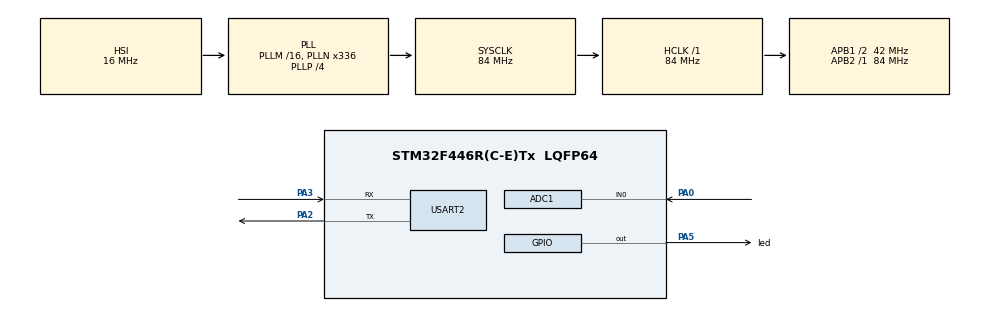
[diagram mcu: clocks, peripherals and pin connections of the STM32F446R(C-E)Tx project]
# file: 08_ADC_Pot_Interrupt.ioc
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ADC1.Channel-0\#ChannelRegularConversion=ADC_CHANNEL_0
ADC1.ContinuousConvMode=ENABLE
ADC1.NbrOfConversionFlag=1
ADC1.Rank-0\#ChannelRegularConversion=1
ADC1.SamplingTime-0\#ChannelRegularConversion=ADC_SAMPLETIME_112CYCLES
ADC1.master=1
Mcu.Family=STM32F4
Mcu.Name=STM32F446R(C-E)Tx
Mcu.Package=LQFP64
NVIC.PriorityGroup=NVIC_PRIORITYGROUP_0
PA0-WKUP.Signal=ADCx_IN0
PA13.Mode=Serial_Wire
PA13.Signal=SYS_JTMS-SWDIO
PA14.Mode=Serial_Wire
PA14.Signal=SYS_JTCK-SWCLK
PA2.Mode=Asynchronous
PA2.Signal=USART2_TX
PA3.Mode=Asynchronous
PA3.Signal=USART2_RX
PA5.GPIO_Label=led
PA5.GPIO_Speed=GPIO_SPEED_FREQ_MEDIUM
PA5.Signal=GPIO_Output
ProjectManager.HeapSize=0x200
ProjectManager.StackSize=0x400
ProjectManager.TargetToolchain=STM32CubeIDE
RCC.48MHZClocksFreq_Value=84000000
RCC.AHBFreq_Value=84000000
RCC.APB1CLKDivider=RCC_HCLK_DIV2
RCC.APB1Freq_Value=42000000
RCC.APB1TimFreq_Value=84000000
RCC.APB2Freq_Value=84000000
RCC.APB2TimFreq_Value=84000000
RCC.CortexFreq_Value=84000000
RCC.FLatency-AdvancedSettings=FLASH_LATENCY_2
RCC.HCLKFreq_Value=84000000
RCC.HSE_VALUE=8000000
RCC.HSI_VALUE=16000000
RCC.PLLN=336
RCC.PLLP=RCC_PLLP_DIV4
RCC.SYSCLKFreq_VALUE=84000000
RCC.SYSCLKSource=RCC_SYSCLKSOURCE_PLLCLK
RCC.USBFreq_Value=168000000
RCC.VCOOutputFreq_Value=336000000
SH.ADCx_IN0.0=ADC1_IN0,IN0
USART2.VirtualMode=VM_ASYNC
board=NUCLEO-F446RE

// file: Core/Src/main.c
/* USER CODE BEGIN Header *//
/**
 ******************************************************************************
 * @file           : main.c
 * @brief          : Main program body
 ******************************************************************************
 * @attention
 *
 * Copyright (c) 2024 STMicroelectronics.
 * All rights reserved.
 *
 * This software is licensed under terms that can be found in the LICENSE file
 * in the root directory of this software component.
 * If no LICENSE file comes with this software, it is provided AS-IS.
 *
 ******************************************************************************
 */
/* USER CODE END Header */
#include "main.h"

ADC_HandleTypeDef hadc1;

UART_HandleTypeDef huart2;

/* USER CODE BEGIN PV */
volatile uint32_t adcValue = 0;
float voltage = 0;
int constrainValue = 0;
long mapValue = 0;

/* USER CODE END PV */

void SystemClock_Config(void);
static void MX_GPIO_Init(void);
static void MX_USART2_UART_Init(void);
static void MX_ADC1_Init(void);
/* USER CODE BEGIN PFP */
int constrain(int value, int min, int max);

/* USER CODE END PFP */

/* USER CODE BEGIN 0 */

int constrain(int value, int min, int max) {
	if (value < min)
		return min;
	else if (value > max)
		return max;
	else
		return value;
}
long map(long value, long in_min, long in_max, long out_min, long out_max) {

	return (value - in_min) * (out_max - out_min) / (in_max - in_min) + out_min;
}

/* USER CODE END 0 */

int main(void) {

	/* MCU Configuration--------------------------------------------------------*/

	/* Reset of all peripherals, Initializes the Flash interface and the Systick. */
	HAL_Init();

	/* Configure the system clock */
	SystemClock_Config();

	/* Initialize all configured peripherals */
	MX_GPIO_Init();
	MX_USART2_UART_Init();
	MX_ADC1_Init();
	/* USER CODE BEGIN 2 */

	HAL_ADC_Start_IT(&hadc1);

	/* USER CODE END 2 */

	/* Infinite loop */
	while (1) {

		/* USER CODE BEGIN 3 */
		constrainValue = constrain(adcValue, 50, 100);
		mapValue = map(adcValue, 0, 4095, 0, 100);
		if (mapValue > 0 && mapValue <= 25) {
			HAL_GPIO_WritePin(led_GPIO_Port, led_Pin, 1);

		} else if (mapValue > 25 && mapValue <= 50) {
			// 2 led on
		} else if (mapValue > 50 && mapValue <= 75) {
			// 3 led on
		} else if (mapValue > 75 && mapValue <= 100) {
			// 4 led on
		} else {
			// all led off
		}
		voltage = adcValue * (3.3 / 4096);
		HAL_Delay(500);
	}
	/* USER CODE END 3 */
}

void SystemClock_Config(void) {
	RCC_OscInitTypeDef RCC_OscInitStruct = { 0 };
	RCC_ClkInitTypeDef RCC_ClkInitStruct = { 0 };

	/** Configure the main internal regulator output voltage
	 */
	__HAL_RCC_PWR_CLK_ENABLE();
	__HAL_PWR_VOLTAGESCALING_CONFIG(PWR_REGULATOR_VOLTAGE_SCALE3);

	/** Initializes the RCC Oscillators according to the specified parameters
	 * in the RCC_OscInitTypeDef structure.
	 */
	RCC_OscInitStruct.OscillatorType = RCC_OSCILLATORTYPE_HSI;
	RCC_OscInitStruct.HSIState = RCC_HSI_ON;
	RCC_OscInitStruct.HSICalibrationValue = RCC_HSICALIBRATION_DEFAULT;
	RCC_OscInitStruct.PLL.PLLState = RCC_PLL_ON;
	RCC_OscInitStruct.PLL.PLLSource = RCC_PLLSOURCE_HSI;
	RCC_OscInitStruct.PLL.PLLM = 16;
	RCC_OscInitStruct.PLL.PLLN = 336;
	RCC_OscInitStruct.PLL.PLLP = RCC_PLLP_DIV4;
	RCC_OscInitStruct.PLL.PLLQ = 2;
	RCC_OscInitStruct.PLL.PLLR = 2;
	if (HAL_RCC_OscConfig(&RCC_OscInitStruct) != HAL_OK) {
		Error_Handler();
	}

	/** Initializes the CPU, AHB and APB buses clocks
	 */
	RCC_ClkInitStruct.ClockType = RCC_CLOCKTYPE_HCLK | RCC_CLOCKTYPE_SYSCLK
			| RCC_CLOCKTYPE_PCLK1 | RCC_CLOCKTYPE_PCLK2;
	RCC_ClkInitStruct.SYSCLKSource = RCC_SYSCLKSOURCE_PLLCLK;
	RCC_ClkInitStruct.AHBCLKDivider = RCC_SYSCLK_DIV1;
	RCC_ClkInitStruct.APB1CLKDivider = RCC_HCLK_DIV2;
	RCC_ClkInitStruct.APB2CLKDivider = RCC_HCLK_DIV1;

	if (HAL_RCC_ClockConfig(&RCC_ClkInitStruct, FLASH_LATENCY_2) != HAL_OK) {
		Error_Handler();
	}
}

static void MX_ADC1_Init(void) {

	ADC_ChannelConfTypeDef sConfig = { 0 };

	/** Configure the global features of the ADC (Clock, Resolution, Data Alignment and number of conversion)
	 */
	hadc1.Instance = ADC1;
	hadc1.Init.ClockPrescaler = ADC_CLOCK_SYNC_PCLK_DIV4;
	hadc1.Init.Resolution = ADC_RESOLUTION_12B;
	hadc1.Init.ScanConvMode = DISABLE;
	hadc1.Init.ContinuousConvMode = ENABLE;
	hadc1.Init.DiscontinuousConvMode = DISABLE;
	hadc1.Init.ExternalTrigConvEdge = ADC_EXTERNALTRIGCONVEDGE_NONE;
	hadc1.Init.ExternalTrigConv = ADC_SOFTWARE_START;
	hadc1.Init.DataAlign = ADC_DATAALIGN_RIGHT;
	hadc1.Init.NbrOfConversion = 1;
	hadc1.Init.DMAContinuousRequests = DISABLE;
	hadc1.Init.EOCSelection = ADC_EOC_SINGLE_CONV;
	if (HAL_ADC_Init(&hadc1) != HAL_OK) {
		Error_Handler();
	}

	/** Configure for the selected ADC regular channel its corresponding rank in the sequencer and its sample time.
	 */
	sConfig.Channel = ADC_CHANNEL_0;
	sConfig.Rank = 1;
	sConfig.SamplingTime = ADC_SAMPLETIME_112CYCLES;
	if (HAL_ADC_ConfigChannel(&hadc1, &sConfig) != HAL_OK) {
		Error_Handler();
	}

}

static void MX_USART2_UART_Init(void) {

	huart2.Instance = USART2;
	huart2.Init.BaudRate = 115200;
	huart2.Init.WordLength = UART_WORDLENGTH_8B;
	huart2.Init.StopBits = UART_STOPBITS_1;
	huart2.Init.Parity = UART_PARITY_NONE;
	huart2.Init.Mode = UART_MODE_TX_RX;
	huart2.Init.HwFlowCtl = UART_HWCONTROL_NONE;
	huart2.Init.OverSampling = UART_OVERSAMPLING_16;
	if (HAL_UART_Init(&huart2) != HAL_OK) {
		Error_Handler();
	}

}

static void MX_GPIO_Init(void) {
	GPIO_InitTypeDef GPIO_InitStruct = { 0 };

	/* GPIO Ports Clock Enable */
	__HAL_RCC_GPIOA_CLK_ENABLE();

	/*Configure GPIO pin Output Level */
	HAL_GPIO_WritePin(led_GPIO_Port, led_Pin, GPIO_PIN_RESET);

	/*Configure GPIO pin : led_Pin */
	GPIO_InitStruct.Pin = led_Pin;
	GPIO_InitStruct.Mode = GPIO_MODE_OUTPUT_PP;
	GPIO_InitStruct.Pull = GPIO_NOPULL;
	GPIO_InitStruct.Speed = GPIO_SPEED_FREQ_MEDIUM;
	HAL_GPIO_Init(led_GPIO_Port, &GPIO_InitStruct);

}

/* USER CODE BEGIN 4 */

void HAL_ADC_ConvCpltCallback(ADC_HandleTypeDef *hadc) {
	if (hadc->Instance == ADC1) {
		adcValue = HAL_ADC_GetValue(&hadc1);
		HAL_ADC_Start_IT(&hadc1);
	}

}

/* USER CODE END 4 */

void Error_Handler(void) {
	__disable_irq();
	while (1) {
	}
}
